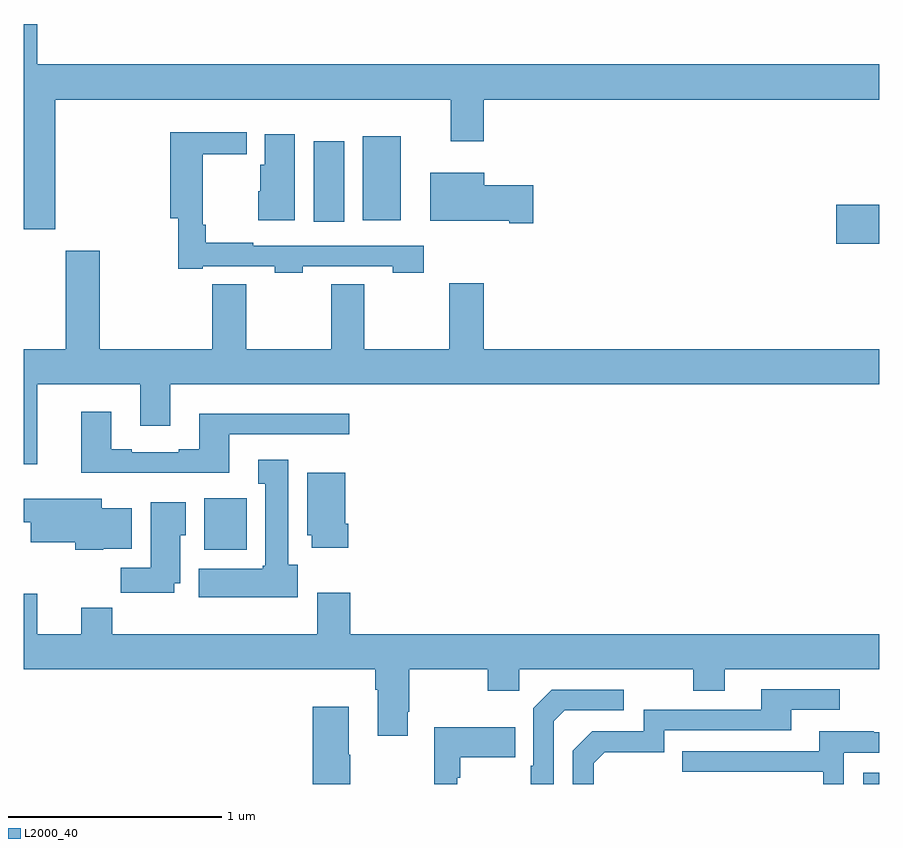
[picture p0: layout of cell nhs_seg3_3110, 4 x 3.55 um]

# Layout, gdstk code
import gdstk
lib = gdstk.Library(unit=1e-6, precision=1e-09)
def R(c, l, rs):  # rectangles x0, y0, x1, y1
    for r in rs: c.add(gdstk.rectangle(r[:2], r[2:], *l))
def P(c, l, *ps):  # polygons
    for p in ps: c.add(gdstk.Polygon(p, *l))
L2000_40 = (2000, 40)

nhs_seg3_3110 = lib.new_cell('nhs_seg3_3110')
R(nhs_seg3_3110, L2000_40, [(276.924,680.4,277,680.452), (273.845,681.494,274.042,681.736), (276.798,682.925,277,683.108), (274.355,683.028,274.498,683.404), (274.586,683.036,274.762,683.428)])
P(nhs_seg3_3110, L2000_40, [(273.148,683.6),(274.997,683.6),(274.997,683.406),(275.15,683.406),(275.15,683.6),(277,683.6),(277,683.764),(273.064,683.764),(273.064,683.953),(273,683.953),(273,682.994),(273.148,682.994)],
  [(274.305,682.821),(274.725,682.821),(274.725,682.789),(274.87,682.789),(274.87,682.917),(274.073,682.917),(274.073,682.93),(273.851,682.93),(273.851,683.014),(273.836,683.014),(273.836,683.344),(274.042,683.344),(274.042,683.446),(273.686,683.446),(273.686,683.045),(273.723,683.045),(273.723,682.809),(273.838,682.809),(273.838,682.821),(274.173,682.821),(274.173,682.789),(274.305,682.789)],
  [(274.267,683.437),(274.127,683.437),(274.127,683.295),(274.106,683.295),(274.106,683.172),(274.097,683.172),(274.097,683.036),(274.267,683.036)],
  [(275.383,683.199),(275.152,683.199),(275.152,683.257),(274.901,683.257),(274.901,683.033),(275.27,683.033),(275.27,683.021),(275.383,683.021)],
  [(273.064,682.268),(273.545,682.268),(273.545,682.074),(273.685,682.074),(273.685,682.268),(277,682.268),(277,682.432),(275.15,682.432),(275.15,682.741),(274.99,682.741),(274.99,682.432),(274.592,682.432),(274.592,682.736),(274.438,682.736),(274.438,682.432),(274.04,682.432),(274.04,682.736),(273.881,682.736),(273.881,682.432),(273.356,682.432),(273.356,682.894),(273.196,682.894),(273.196,682.432),(273,682.432),(273,681.894),(273.064,681.894)],
  [(273.961,682.035),(274.522,682.035),(274.522,682.132),(273.821,682.132),(273.821,681.964),(273.725,681.964),(273.725,681.951),(273.505,681.951),(273.505,681.964),(273.409,681.964),(273.409,682.141),(273.269,682.141),(273.269,681.854),(273.961,681.854)],
  [(274.282,681.426),(274.237,681.426),(274.237,681.916),(274.097,681.916),(274.097,681.803),(274.13,681.803),(274.13,681.42),(274.117,681.42),(274.117,681.406),(273.818,681.406),(273.818,681.272),(274.282,681.272)],
  [(274.517,681.616),(274.504,681.616),(274.504,681.856),(274.325,681.856),(274.325,681.564),(274.346,681.564),(274.346,681.504),(274.517,681.504)],
  [(273.372,681.5),(273.505,681.5),(273.505,681.688),(273.364,681.688),(273.364,681.733),(273,681.733),(273,681.624),(273.032,681.624),(273.032,681.53),(273.242,681.53),(273.242,681.494),(273.372,681.494)],
  [(273.703,681.338),(273.733,681.338),(273.733,681.564),(273.757,681.564),(273.757,681.718),(273.593,681.718),(273.593,681.412),(273.454,681.412),(273.454,681.294),(273.703,681.294)],
  [(274.795,680.737),(274.803,680.737),(274.803,680.936),(275.17,680.936),(275.17,680.837),(275.316,680.837),(275.316,680.936),(276.13,680.936),(276.13,680.837),(276.277,680.837),(276.277,680.936),(277,680.936),(277,681.1),(274.526,681.1),(274.526,681.295),(274.373,681.295),(274.373,681.1),(273.413,681.1),(273.413,681.224),(273.269,681.224),(273.269,681.1),(273.064,681.1),(273.064,681.289),(273,681.289),(273,680.936),(274.643,680.936),(274.643,680.84),(274.655,680.84),(274.655,680.625),(274.795,680.625)],
  [(275.664,680.496),(275.717,680.549),(275.994,680.549),(275.994,680.652),(276.589,680.652),(276.589,680.748),(276.814,680.748),(276.814,680.844),(276.449,680.844),(276.449,680.748),(275.898,680.748),(275.898,680.646),(275.658,680.646),(275.568,680.556),(275.568,680.4),(275.664,680.4)],
  [(275.478,680.694),(275.529,680.745),(275.806,680.745),(275.806,680.841),(275.469,680.841),(275.382,680.754),(275.382,680.485),(275.37,680.485),(275.37,680.4),(275.478,680.4)],
  [(274.527,680.537),(274.519,680.537),(274.519,680.761),(274.352,680.761),(274.352,680.4),(274.527,680.4)],
  [(275.028,680.429),(275.041,680.429),(275.041,680.525),(275.297,680.525),(275.297,680.665),(274.92,680.665),(274.92,680.4),(275.028,680.4)],
  [(276.834,680.547),(277,680.547),(277,680.643),(276.973,680.643),(276.973,680.647),(276.719,680.647),(276.719,680.553),(276.079,680.553),(276.079,680.457),(276.738,680.457),(276.738,680.4),(276.834,680.4)])

lib.write_gds('nhs_seg3_3110.gds')
